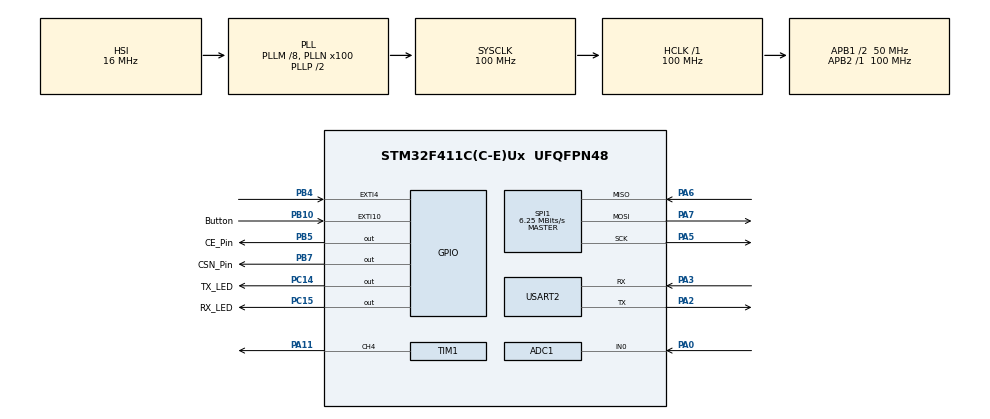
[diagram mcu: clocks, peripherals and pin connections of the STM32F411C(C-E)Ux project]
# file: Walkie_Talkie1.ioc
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ADC1.Channel-0\#ChannelRegularConversion=ADC_CHANNEL_0
ADC1.ContinuousConvMode=DISABLE
ADC1.DMAContinuousRequests=ENABLE
ADC1.ExternalTrigConv=ADC_EXTERNALTRIGCONV_T2_TRGO
ADC1.NbrOfConversionFlag=1
ADC1.Rank-0\#ChannelRegularConversion=1
ADC1.SamplingTime-0\#ChannelRegularConversion=ADC_SAMPLETIME_28CYCLES
ADC1.master=1
Dma.ADC1.0.Direction=DMA_PERIPH_TO_MEMORY
Dma.ADC1.0.FIFOMode=DMA_FIFOMODE_DISABLE
Dma.ADC1.0.Instance=DMA2_Stream0
Dma.ADC1.0.MemDataAlignment=DMA_MDATAALIGN_HALFWORD
Dma.ADC1.0.MemInc=DMA_MINC_ENABLE
Dma.ADC1.0.Mode=DMA_CIRCULAR
Dma.ADC1.0.PeriphDataAlignment=DMA_PDATAALIGN_HALFWORD
Dma.ADC1.0.PeriphInc=DMA_PINC_DISABLE
Dma.ADC1.0.Priority=DMA_PRIORITY_MEDIUM
Dma.Request0=ADC1
Mcu.Family=STM32F4
Mcu.Name=STM32F411C(C-E)Ux
Mcu.Package=UFQFPN48
NVIC.DMA2_Stream0_IRQn=true\:0\:0\:false\:false\:true\:false\:true\:true
NVIC.EXTI15_10_IRQn=true\:0\:0\:false\:false\:true\:true\:true\:true
NVIC.EXTI4_IRQn=true\:0\:0\:false\:false\:true\:true\:true\:true
NVIC.PriorityGroup=NVIC_PRIORITYGROUP_4
NVIC.SPI1_IRQn=true\:0\:0\:false\:false\:true\:true\:true\:true
NVIC.TIM2_IRQn=true\:0\:0\:false\:false\:true\:true\:true\:true
PA0-WKUP.Signal=ADCx_IN0
PA11.Signal=S_TIM1_CH4
PA2.Mode=Asynchronous
PA2.Signal=USART2_TX
PA3.Mode=Asynchronous
PA3.Signal=USART2_RX
PA5.Mode=Full_Duplex_Master
PA5.Signal=SPI1_SCK
PA6.Mode=Full_Duplex_Master
PA6.Signal=SPI1_MISO
PA7.Mode=Full_Duplex_Master
PA7.Signal=SPI1_MOSI
PB10.GPIO_Label=Button
PB10.Signal=GPXTI10
PB4.GPIO_ModeDefaultEXTI=GPIO_MODE_IT_FALLING
PB4.Signal=GPXTI4
PB5.GPIO_Label=CE_Pin
PB5.GPIO_Speed=GPIO_SPEED_FREQ_HIGH
PB5.Signal=GPIO_Output
PB7.GPIO_Label=CSN_Pin
PB7.GPIO_Speed=GPIO_SPEED_FREQ_HIGH
PB7.Signal=GPIO_Output
PC14-OSC32_IN.GPIO_Label=TX_LED
PC14-OSC32_IN.Signal=GPIO_Output
PC15-OSC32_OUT.GPIO_Label=RX_LED
PC15-OSC32_OUT.PinState=GPIO_PIN_SET
PC15-OSC32_OUT.Signal=GPIO_Output
ProjectManager.HeapSize=0x200
ProjectManager.StackSize=0x400
ProjectManager.TargetToolchain=STM32CubeIDE
RCC.48MHZClocksFreq_Value=50000000
RCC.AHBFreq_Value=100000000
RCC.APB1CLKDivider=RCC_HCLK_DIV2
RCC.APB1Freq_Value=50000000
RCC.APB1TimFreq_Value=100000000
RCC.APB2Freq_Value=100000000
RCC.APB2TimFreq_Value=100000000
RCC.CortexFreq_Value=100000000
RCC.HCLKFreq_Value=100000000
RCC.HSE_VALUE=25000000
RCC.HSI_VALUE=16000000
RCC.LSE_VALUE=32768
RCC.PLLM=8
RCC.PLLN=100
RCC.SYSCLKFreq_VALUE=100000000
RCC.SYSCLKSource=RCC_SYSCLKSOURCE_PLLCLK
RCC.VCOOutputFreq_Value=200000000
SH.ADCx_IN0.0=ADC1_IN0,IN0
SH.S_TIM1_CH4.0=TIM1_CH4,PWM Generation4 CH4
SPI1.BaudRatePrescaler=SPI_BAUDRATEPRESCALER_16
SPI1.CalculateBaudRate=6.25 MBits/s
SPI1.Direction=SPI_DIRECTION_2LINES
SPI1.Mode=SPI_MODE_MASTER
SPI1.VirtualType=VM_MASTER
TIM1.Channel-PWM\ Generation4\ CH4=TIM_CHANNEL_4
TIM1.Period=999
TIM2.Period=1
TIM2.Prescaler=6249
TIM2.TIM_MasterOutputTrigger=TIM_TRGO_UPDATE
USART2.VirtualMode=VM_ASYNC
VP_TIM2_VS_ClockSourceINT.Mode=Internal
board=custom

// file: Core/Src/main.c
/* USER CODE BEGIN Header */
// add software resetting if no packets come in
// add screen for packet num print
// software audio quality increase
	// - keep 12 bit sampling, don't reduce to 8
	// - software removal of buzzing/etc. from PCM before transforming to PWM
// Software detection of mic not in use (background vs user speaking into it)
	// - this will assist in allowing me to auto switch from tx and rx without button
	// - maybe too risky/non-intuitive for use though so best to just use button
/**
  ******************************************************************************
  * @file           : main.c
  * @brief          : Main program body
  ******************************************************************************
  * @attention
  *
  * Copyright (c) 2025 STMicroelectronics.
  * All rights reserved.
  *
  * This software is licensed under terms that can be found in the LICENSE file
  * in the root directory of this software component.
  * If no LICENSE file comes with this software, it is provided AS-IS.
  *
  ******************************************************************************
  */
/* USER CODE END Header */
#include "main.h"

/* USER CODE BEGIN Includes */
#include <stdlib.h>
#include <string.h>
#include <stdbool.h>
#include "NRF24.h"
#include "NRF24_reg_addresses.h"
//#include "MCP4725.h"
#include <time.h>
/* USER CODE END Includes */

/* USER CODE BEGIN PD */
#define ADC_BUFFER_SIZE 64
#define PLD_SIZE 32

/* USER CODE END PD */

ADC_HandleTypeDef hadc1;
DMA_HandleTypeDef hdma_adc1;

SPI_HandleTypeDef hspi1;

TIM_HandleTypeDef htim1;
TIM_HandleTypeDef htim2;

UART_HandleTypeDef huart2;

void SystemClock_Config(void);
static void MX_GPIO_Init(void);
static void MX_DMA_Init(void);
static void MX_USART2_UART_Init(void);
static void MX_ADC1_Init(void);
static void MX_SPI1_Init(void);
static void MX_TIM2_Init(void);
static void MX_TIM1_Init(void);

/* USER CODE BEGIN 0 */
// Tx = 0 is receiver, Tx = 1 is transmitter
volatile uint8_t Tx = 0;
char msg[] = "Hello from STM32!\r\n";
uint8_t data_T[PLD_SIZE] = { "Test DATA!!!" };
//uint8_t ack_T[PLD_SIZE];

uint8_t data_R[PLD_SIZE] = { "Test DATA!!!" };
//uint8_t ack_R[PLD_SIZE];

uint16_t adc_buffer[ADC_BUFFER_SIZE];
uint8_t PCM_8bit_Audio_Samples1[ADC_BUFFER_SIZE / 2];
uint8_t PCM_8bit_Audio_Samples2[ADC_BUFFER_SIZE / 2];

#define AUDIO_BUF_SIZE 1024

volatile uint8_t audio_buf[AUDIO_BUF_SIZE];
volatile uint16_t write_index = 0;
volatile uint16_t read_index  = 0;
volatile uint16_t buffered    = 0;
volatile bool new_packet1 = false;
volatile bool new_packet2 = false;
volatile bool dac_needs_update = false;
volatile uint8_t current_pcm = 128;

//MCP4725_t mcp4725;

void nrf_packet_received(uint8_t *data)
{
    for (int i = 0; i < 32; i++)
    {
//		HAL_UART_Transmit(&huart2, "t0\n", 3, 10);
        audio_buf[write_index] = data[i];
        write_index = (write_index + 1) % AUDIO_BUF_SIZE;

        if (buffered < AUDIO_BUF_SIZE)
            buffered++;
        else
            read_index = (read_index + 1) % AUDIO_BUF_SIZE;
    }

//		HAL_UART_Transmit(&huart2, "t1\n", 3, 10);
}

void HAL_TIM_PeriodElapsedCallback(TIM_HandleTypeDef *htim)
{

    if (htim->Instance != TIM2 || Tx)
        return;

    if (buffered > 0)
    {
        current_pcm = audio_buf[read_index];
        read_index = (read_index + 1) % AUDIO_BUF_SIZE;
        buffered--;
    }
    else
    {
        // underrun → silence / mid-level
        current_pcm = 128;
    }

    dac_needs_update = true;
    uint16_t pwm_value = ((uint16_t)current_pcm * 1000) / 256;
    TIM1->CCR4 = pwm_value;

//    static uint8_t t = 0;
//    t++;
//    current_pcm = t;  // ramp 0..255 repeatedly
//
//    uint16_t pwm_value = ((uint16_t)current_pcm * 1000) / 256;
//    TIM1->CCR4 = pwm_value;
}

void HAL_ADC_ConvHalfCpltCallback(ADC_HandleTypeDef* hadc) {

	if (!Tx)
		return;
	if (hadc->Instance == ADC1) {
//		HAL_UART_Transmit(&huart2, "DMA half\n", 9, 10);
		// 512 half buffer size
		for (int i = 0; i < ADC_BUFFER_SIZE / 2; i++) {
			PCM_8bit_Audio_Samples1[i] = adc_buffer[i] >> 4;
		}

//		for (int i = 0; i < 16; i++)
//			nrf24_transmit(PCM_8bit_Audio_Samples1 + 32*i, PLD_SIZE);
//			nrf24_transmit(data_T, PLD_SIZE);
	}
	new_packet1 = true;
}

void HAL_ADC_ConvCpltCallback(ADC_HandleTypeDef* hadc) {

	if (!Tx)
		return;
	if (hadc->Instance == ADC1) {

//		HAL_UART_Transmit(&huart2, "DMA full\n", 9, 10);
		uint16_t half_buff_size = ADC_BUFFER_SIZE / 2;
		for (int i = 0; i < half_buff_size; i++) {
			PCM_8bit_Audio_Samples2[i] = adc_buffer[half_buff_size + i] >> 4;
		}
		new_packet2 = true;
//		for (int i = 0; i < 16; i++)
//			nrf24_transmit(PCM_8bit_Audio_Samples2 + 32*i, PLD_SIZE);
		}
}

volatile uint32_t last_press_time = 0;
volatile bool TX_change = false;

void HAL_GPIO_EXTI_Callback(uint16_t GPIO_Pin)
{
    if (GPIO_Pin == Button_Pin)
    {
        uint32_t now = HAL_GetTick();

        if (now - last_press_time > 700)  // debounce
        {
            last_press_time = now;
            TX_change = true;
            // switch to receiver

        // else ignore because it’s too soon
        }
    }
}
/* USER CODE END 0 */

int main(void)
{

  /* MCU Configuration--------------------------------------------------------*/

  /* Reset of all peripherals, Initializes the Flash interface and the Systick. */
  HAL_Init();

  /* Configure the system clock */
  SystemClock_Config();

  /* Initialize all configured peripherals */
  MX_GPIO_Init();
  MX_DMA_Init();
  MX_USART2_UART_Init();
  MX_ADC1_Init();
  MX_SPI1_Init();
  MX_TIM2_Init();
  MX_TIM1_Init();
  /* USER CODE BEGIN 2 */

//	  MCP4725_SetVoltage(&mcp4725, 1458, MCP4725_DAC_ONLY);
//  char msg[32];
  /* USER CODE END 2 */

  /* Infinite loop */
  /* USER CODE BEGIN WHILE */
  csn_high();

  nrf24_init();
  nrf24_tx_pwr(_0dbm);
  nrf24_data_rate(_2mbps);
  nrf24_set_channel(2);
  nrf24_set_crc(en_crc, _1byte);
  nrf24_pipe_pld_size(0, PLD_SIZE);
  uint8_t addr[5] = { 0x10, 0x21, 0x32, 0x43, 0x54 };
  nrf24_open_tx_pipe(addr);
  nrf24_open_rx_pipe(0, addr);
  // test to see if it doubles rate
  nrf24_auto_ack_all(disable);

  if (Tx)
	  nrf24_stop_listen();
  else
	  nrf24_listen();

  if (!Tx) {
//	  MCP4725_Initialize(&mcp4725, &hi2c2, 0x60);

	  HAL_TIM_Base_Start_IT(&htim2);
	  HAL_TIM_PWM_Start(&htim1, TIM_CHANNEL_4);

//	  TIM1->CCR4 = 500;
//	  HAL_Delay(2000);
//
//	  // 100% duty - LED should be bright
//	  TIM1->CCR4 = 999;
//	  HAL_Delay(2000);
//
//	  // 0% duty - LED should be off
//	  TIM1->CCR4 = 0;
//	  HAL_Delay(2000);
  } else {

	  HAL_TIM_Base_Start_IT(&htim2);
	  HAL_ADC_Start_DMA(&hadc1, (uint32_t*)adc_buffer, ADC_BUFFER_SIZE);
  }

  HAL_UART_Transmit(&huart2, "f\n", 3, 10);
  uint32_t time_now = HAL_GetTick();
  uint32_t packet_per_sec = 0;
  uint8_t seq = 0;
  while (1)
  {
    /* USER CODE END WHILE */

    /* USER CODE BEGIN 3 */

//	  HAL_Delay(1);
//	  sprintf(msg, "%d\r\n", adc_buffer[0]);

	  if (TX_change) {
		  if (Tx) {
			  nrf24_listen();
//			  HAL_TIM_Base_Start_IT(&htim2);
			  HAL_ADC_Stop_DMA(&hadc1);
			  HAL_TIM_PWM_Start(&htim1, TIM_CHANNEL_4);

			  Tx = 0;
			  HAL_GPIO_WritePin(RX_LED_GPIO_Port, RX_LED_Pin, GPIO_PIN_SET);
			  HAL_GPIO_WritePin(TX_LED_GPIO_Port, TX_LED_Pin, GPIO_PIN_RESET);
			  HAL_UART_Transmit(&huart2, "switch to receiver\n", 21, 10);
			}
            // switch to transmitter
            else {
            	nrf24_stop_listen();
//				HAL_TIM_Base_Start_IT(&htim2);
            	HAL_TIM_PWM_Stop(&htim1, TIM_CHANNEL_4);
				HAL_ADC_Start_DMA(&hadc1, (uint32_t*)adc_buffer, ADC_BUFFER_SIZE);

            	Tx = 1;

            	HAL_GPIO_WritePin(TX_LED_GPIO_Port, TX_LED_Pin, GPIO_PIN_SET);
            	HAL_GPIO_WritePin(RX_LED_GPIO_Port, RX_LED_Pin, GPIO_PIN_RESET);
				HAL_UART_Transmit(&huart2, "switch to transmitter\n", 23, 10);
            }
		  TX_change = false;
	  }
	  if (Tx){
//		  nrf24_transmit(data_T, PLD_SIZE);
//		  HAL_UART_Transmit(&huart2, "transmitted\n", 12, 100);
		  if (new_packet1) {
//			  HAL_UART_Transmit(&huart2, "TX1\n", 4, 10);
//			  PCM_8bit_Audio_Samples1[0] = seq++;
			  nrf24_transmit(PCM_8bit_Audio_Samples1, PLD_SIZE);
			  packet_per_sec++;
			  new_packet1 = false;
		  }
		  if (new_packet2) {
//			  PCM_8bit_Audio_Samples2[0] = seq++;
			  nrf24_transmit(PCM_8bit_Audio_Samples2, PLD_SIZE);
			  packet_per_sec++;
			  new_packet2 = false;
		  }
	  }
	  else {
		while (nrf24_data_available()){
//		HAL_UART_Transmit(&huart2, "p\n", 3, 10);
		  nrf24_receive(data_R, sizeof(data_R));
		  packet_per_sec++;
		  uint8_t rx_seq = data_R[0];
		  char dbg[32];
//		  int len = sprintf(dbg, "seq=%u\n", rx_seq);
//		  HAL_UART_Transmit(&huart2, (uint8_t*)dbg, len, 20);

//		HAL_UART_Transmit(&huart2, "Received Packet: ", 17, 10);
//		HAL_UART_Transmit(&huart2, data_R, sizeof(data_R), 10);
		nrf_packet_received(data_R);

//		HAL_UART_Transmit(&huart2, "t1\n", 3, 10);
//		HAL_UART_Transmit(&huart2, data_R, PLD_SIZE, 100);
//		HAL_UART_Transmit(&huart2, "t4\n", 3, 10);
		}
	  }

	  if (HAL_GetTick() - time_now >= 1000) {
			time_now += 1000;

			char buff[32];
			int len = sprintf(buff, "pps=%lu\r\n", (unsigned long)packet_per_sec);
			HAL_UART_Transmit(&huart2, (uint8_t*)buff, len, 20);

			packet_per_sec = 0;
		}

//	  HAL_Delay(3);
  }
  /* USER CODE END 3 */
}

void SystemClock_Config(void)
{
  RCC_OscInitTypeDef RCC_OscInitStruct = {0};
  RCC_ClkInitTypeDef RCC_ClkInitStruct = {0};

  /** Configure the main internal regulator output voltage
  */
  __HAL_RCC_PWR_CLK_ENABLE();
  __HAL_PWR_VOLTAGESCALING_CONFIG(PWR_REGULATOR_VOLTAGE_SCALE1);

  /** Initializes the RCC Oscillators according to the specified parameters
  * in the RCC_OscInitTypeDef structure.
  */
  RCC_OscInitStruct.OscillatorType = RCC_OSCILLATORTYPE_HSI;
  RCC_OscInitStruct.HSIState = RCC_HSI_ON;
  RCC_OscInitStruct.HSICalibrationValue = RCC_HSICALIBRATION_DEFAULT;
  RCC_OscInitStruct.PLL.PLLState = RCC_PLL_ON;
  RCC_OscInitStruct.PLL.PLLSource = RCC_PLLSOURCE_HSI;
  RCC_OscInitStruct.PLL.PLLM = 8;
  RCC_OscInitStruct.PLL.PLLN = 100;
  RCC_OscInitStruct.PLL.PLLP = RCC_PLLP_DIV2;
  RCC_OscInitStruct.PLL.PLLQ = 4;
  if (HAL_RCC_OscConfig(&RCC_OscInitStruct) != HAL_OK)
  {
    Error_Handler();
  }

  /** Initializes the CPU, AHB and APB buses clocks
  */
  RCC_ClkInitStruct.ClockType = RCC_CLOCKTYPE_HCLK|RCC_CLOCKTYPE_SYSCLK
                              |RCC_CLOCKTYPE_PCLK1|RCC_CLOCKTYPE_PCLK2;
  RCC_ClkInitStruct.SYSCLKSource = RCC_SYSCLKSOURCE_PLLCLK;
  RCC_ClkInitStruct.AHBCLKDivider = RCC_SYSCLK_DIV1;
  RCC_ClkInitStruct.APB1CLKDivider = RCC_HCLK_DIV2;
  RCC_ClkInitStruct.APB2CLKDivider = RCC_HCLK_DIV1;

  if (HAL_RCC_ClockConfig(&RCC_ClkInitStruct, FLASH_LATENCY_3) != HAL_OK)
  {
    Error_Handler();
  }
}

static void MX_ADC1_Init(void)
{

  ADC_ChannelConfTypeDef sConfig = {0};

  /** Configure the global features of the ADC (Clock, Resolution, Data Alignment and number of conversion)
  */
  hadc1.Instance = ADC1;
  hadc1.Init.ClockPrescaler = ADC_CLOCK_SYNC_PCLK_DIV4;
  hadc1.Init.Resolution = ADC_RESOLUTION_12B;
  hadc1.Init.ScanConvMode = DISABLE;
  hadc1.Init.ContinuousConvMode = DISABLE;
  hadc1.Init.DiscontinuousConvMode = DISABLE;
  hadc1.Init.ExternalTrigConvEdge = ADC_EXTERNALTRIGCONVEDGE_RISING;
  hadc1.Init.ExternalTrigConv = ADC_EXTERNALTRIGCONV_T2_TRGO;
  hadc1.Init.DataAlign = ADC_DATAALIGN_RIGHT;
  hadc1.Init.NbrOfConversion = 1;
  hadc1.Init.DMAContinuousRequests = ENABLE;
  hadc1.Init.EOCSelection = ADC_EOC_SINGLE_CONV;
  if (HAL_ADC_Init(&hadc1) != HAL_OK)
  {
    Error_Handler();
  }

  /** Configure for the selected ADC regular channel its corresponding rank in the sequencer and its sample time.
  */
  sConfig.Channel = ADC_CHANNEL_0;
  sConfig.Rank = 1;
  sConfig.SamplingTime = ADC_SAMPLETIME_28CYCLES;
  if (HAL_ADC_ConfigChannel(&hadc1, &sConfig) != HAL_OK)
  {
    Error_Handler();
  }

}

static void MX_SPI1_Init(void)
{

  /* SPI1 parameter configuration*/
  hspi1.Instance = SPI1;
  hspi1.Init.Mode = SPI_MODE_MASTER;
  hspi1.Init.Direction = SPI_DIRECTION_2LINES;
  hspi1.Init.DataSize = SPI_DATASIZE_8BIT;
  hspi1.Init.CLKPolarity = SPI_POLARITY_LOW;
  hspi1.Init.CLKPhase = SPI_PHASE_1EDGE;
  hspi1.Init.NSS = SPI_NSS_SOFT;
  hspi1.Init.BaudRatePrescaler = SPI_BAUDRATEPRESCALER_16;
  hspi1.Init.FirstBit = SPI_FIRSTBIT_MSB;
  hspi1.Init.TIMode = SPI_TIMODE_DISABLE;
  hspi1.Init.CRCCalculation = SPI_CRCCALCULATION_DISABLE;
  hspi1.Init.CRCPolynomial = 10;
  if (HAL_SPI_Init(&hspi1) != HAL_OK)
  {
    Error_Handler();
  }

}

static void MX_TIM1_Init(void)
{

  TIM_MasterConfigTypeDef sMasterConfig = {0};
  TIM_OC_InitTypeDef sConfigOC = {0};
  TIM_BreakDeadTimeConfigTypeDef sBreakDeadTimeConfig = {0};

  htim1.Instance = TIM1;
  htim1.Init.Prescaler = 0;
  htim1.Init.CounterMode = TIM_COUNTERMODE_UP;
  htim1.Init.Period = 999;
  htim1.Init.ClockDivision = TIM_CLOCKDIVISION_DIV1;
  htim1.Init.RepetitionCounter = 0;
  htim1.Init.AutoReloadPreload = TIM_AUTORELOAD_PRELOAD_DISABLE;
  if (HAL_TIM_PWM_Init(&htim1) != HAL_OK)
  {
    Error_Handler();
  }
  sMasterConfig.MasterOutputTrigger = TIM_TRGO_RESET;
  sMasterConfig.MasterSlaveMode = TIM_MASTERSLAVEMODE_DISABLE;
  if (HAL_TIMEx_MasterConfigSynchronization(&htim1, &sMasterConfig) != HAL_OK)
  {
    Error_Handler();
  }
  sConfigOC.OCMode = TIM_OCMODE_PWM1;
  sConfigOC.Pulse = 0;
  sConfigOC.OCPolarity = TIM_OCPOLARITY_HIGH;
  sConfigOC.OCFastMode = TIM_OCFAST_DISABLE;
  sConfigOC.OCIdleState = TIM_OCIDLESTATE_RESET;
  sConfigOC.OCNIdleState = TIM_OCNIDLESTATE_RESET;
  if (HAL_TIM_PWM_ConfigChannel(&htim1, &sConfigOC, TIM_CHANNEL_4) != HAL_OK)
  {
    Error_Handler();
  }
  sBreakDeadTimeConfig.OffStateRunMode = TIM_OSSR_DISABLE;
  sBreakDeadTimeConfig.OffStateIDLEMode = TIM_OSSI_DISABLE;
  sBreakDeadTimeConfig.LockLevel = TIM_LOCKLEVEL_OFF;
  sBreakDeadTimeConfig.DeadTime = 0;
  sBreakDeadTimeConfig.BreakState = TIM_BREAK_DISABLE;
  sBreakDeadTimeConfig.BreakPolarity = TIM_BREAKPOLARITY_HIGH;
  sBreakDeadTimeConfig.AutomaticOutput = TIM_AUTOMATICOUTPUT_DISABLE;
  if (HAL_TIMEx_ConfigBreakDeadTime(&htim1, &sBreakDeadTimeConfig) != HAL_OK)
  {
    Error_Handler();
  }
  HAL_TIM_MspPostInit(&htim1);

}

static void MX_TIM2_Init(void)
{

  TIM_ClockConfigTypeDef sClockSourceConfig = {0};
  TIM_MasterConfigTypeDef sMasterConfig = {0};

  htim2.Instance = TIM2;
  htim2.Init.Prescaler = 6249;
  htim2.Init.CounterMode = TIM_COUNTERMODE_UP;
  htim2.Init.Period = 1;
  htim2.Init.ClockDivision = TIM_CLOCKDIVISION_DIV1;
  htim2.Init.AutoReloadPreload = TIM_AUTORELOAD_PRELOAD_DISABLE;
  if (HAL_TIM_Base_Init(&htim2) != HAL_OK)
  {
    Error_Handler();
  }
  sClockSourceConfig.ClockSource = TIM_CLOCKSOURCE_INTERNAL;
  if (HAL_TIM_ConfigClockSource(&htim2, &sClockSourceConfig) != HAL_OK)
  {
    Error_Handler();
  }
  sMasterConfig.MasterOutputTrigger = TIM_TRGO_UPDATE;
  sMasterConfig.MasterSlaveMode = TIM_MASTERSLAVEMODE_DISABLE;
  if (HAL_TIMEx_MasterConfigSynchronization(&htim2, &sMasterConfig) != HAL_OK)
  {
    Error_Handler();
  }

}

static void MX_USART2_UART_Init(void)
{

  huart2.Instance = USART2;
  huart2.Init.BaudRate = 115200;
  huart2.Init.WordLength = UART_WORDLENGTH_8B;
  huart2.Init.StopBits = UART_STOPBITS_1;
  huart2.Init.Parity = UART_PARITY_NONE;
  huart2.Init.Mode = UART_MODE_TX_RX;
  huart2.Init.HwFlowCtl = UART_HWCONTROL_NONE;
  huart2.Init.OverSampling = UART_OVERSAMPLING_16;
  if (HAL_UART_Init(&huart2) != HAL_OK)
  {
    Error_Handler();
  }

}

static void MX_DMA_Init(void)
{

  /* DMA controller clock enable */
  __HAL_RCC_DMA2_CLK_ENABLE();

  /* DMA interrupt init */
  /* DMA2_Stream0_IRQn interrupt configuration */
  HAL_NVIC_SetPriority(DMA2_Stream0_IRQn, 0, 0);
  HAL_NVIC_EnableIRQ(DMA2_Stream0_IRQn);

}

static void MX_GPIO_Init(void)
{
  GPIO_InitTypeDef GPIO_InitStruct = {0};

  /* GPIO Ports Clock Enable */
  __HAL_RCC_GPIOC_CLK_ENABLE();
  __HAL_RCC_GPIOA_CLK_ENABLE();
  __HAL_RCC_GPIOB_CLK_ENABLE();

  /*Configure GPIO pin Output Level */
  HAL_GPIO_WritePin(TX_LED_GPIO_Port, TX_LED_Pin, GPIO_PIN_RESET);

  /*Configure GPIO pin Output Level */
  HAL_GPIO_WritePin(RX_LED_GPIO_Port, RX_LED_Pin, GPIO_PIN_SET);

  /*Configure GPIO pin Output Level */
  HAL_GPIO_WritePin(GPIOB, CE_Pin_Pin|CSN_Pin_Pin, GPIO_PIN_RESET);

  /*Configure GPIO pins : TX_LED_Pin RX_LED_Pin */
  GPIO_InitStruct.Pin = TX_LED_Pin|RX_LED_Pin;
  GPIO_InitStruct.Mode = GPIO_MODE_OUTPUT_PP;
  GPIO_InitStruct.Pull = GPIO_NOPULL;
  GPIO_InitStruct.Speed = GPIO_SPEED_FREQ_LOW;
  HAL_GPIO_Init(GPIOC, &GPIO_InitStruct);

  /*Configure GPIO pin : Button_Pin */
  GPIO_InitStruct.Pin = Button_Pin;
  GPIO_InitStruct.Mode = GPIO_MODE_IT_RISING;
  GPIO_InitStruct.Pull = GPIO_NOPULL;
  HAL_GPIO_Init(Button_GPIO_Port, &GPIO_InitStruct);

  /*Configure GPIO pin : PB4 */
  GPIO_InitStruct.Pin = GPIO_PIN_4;
  GPIO_InitStruct.Mode = GPIO_MODE_IT_FALLING;
  GPIO_InitStruct.Pull = GPIO_NOPULL;
  HAL_GPIO_Init(GPIOB, &GPIO_InitStruct);

  /*Configure GPIO pins : CE_Pin_Pin CSN_Pin_Pin */
  GPIO_InitStruct.Pin = CE_Pin_Pin|CSN_Pin_Pin;
  GPIO_InitStruct.Mode = GPIO_MODE_OUTPUT_PP;
  GPIO_InitStruct.Pull = GPIO_NOPULL;
  GPIO_InitStruct.Speed = GPIO_SPEED_FREQ_HIGH;
  HAL_GPIO_Init(GPIOB, &GPIO_InitStruct);

  /* EXTI interrupt init*/
  HAL_NVIC_SetPriority(EXTI4_IRQn, 0, 0);
  HAL_NVIC_EnableIRQ(EXTI4_IRQn);

  HAL_NVIC_SetPriority(EXTI15_10_IRQn, 0, 0);
  HAL_NVIC_EnableIRQ(EXTI15_10_IRQn);

}

void Error_Handler(void)
{
  __disable_irq();
  while (1)
  {
  }
}
